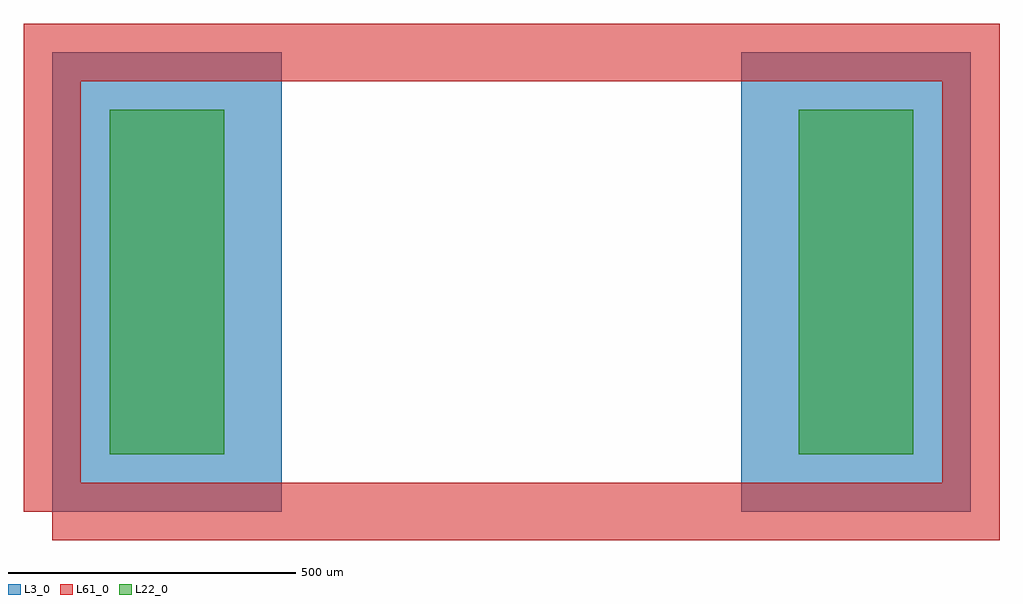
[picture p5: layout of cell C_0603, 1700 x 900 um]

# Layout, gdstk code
import gdstk
lib = gdstk.Library(unit=1e-6, precision=1e-09)
def R(c, l, rs):  # rectangles x0, y0, x1, y1
    for r in rs: c.add(gdstk.rectangle(r[:2], r[2:], *l))
L3_0 = (3, 0)
L22_0 = (22, 0)
L61_0 = (61, 0)

c_0603 = lib.new_cell('C_0603')
R(c_0603, L3_0, [(-800,-400,-400,400), (400,-400,800,400)])
R(c_0603, L22_0, [(-700,-300,-500,300), (500,-300,700,300)])
c_0603.add(gdstk.FlexPath([(-800,-400),(800,-400),(800,400),(-800,400),(-800,-400)], 100, ends="flush", simple_path=True, layer=61, datatype=0))  # L61_0

lib.write_gds('C_0603.gds')
